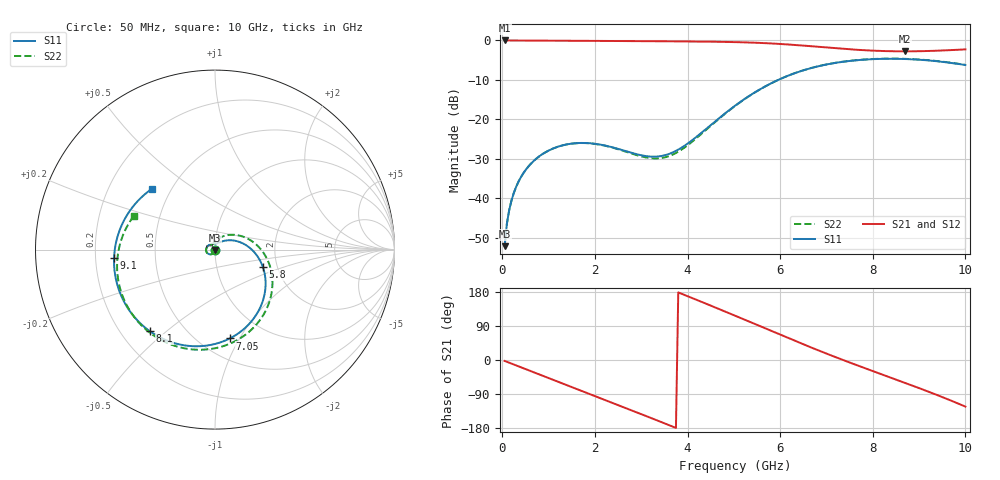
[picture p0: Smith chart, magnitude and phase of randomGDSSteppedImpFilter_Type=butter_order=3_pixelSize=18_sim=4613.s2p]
! freq	dB(S11)	phase(S11)	dB(S12)	phase(S12)
!  dB(S21)	phase(S21)	dB(S22)	phase(S22)
!S-par simulation data
#  GHz  S  DB  R 50
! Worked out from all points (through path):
!   200 points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, 50 MHz to 10 GHz, reference 50 ohm
!   highest |S21| = 0.00 dB at 50 MHz (marker M1); lowest = -2.8 dB at 8.7 GHz (marker M2)
!   group delay of S21, straight-line fit = 135 ps
!   lowest |S11| = -52.2 dB at 50 MHz (marker M3), VSWR 1.00, Z = 50 - j0.246 ohm
!   |S11| at or under -10 dB: start of sweep to 5.96 GHz
!   |S22| runs from -52.2 to -4.6 dB; largest |S21 - S12| = 0
!   S11 on the Smith chart (normalised r, x): 50 MHz: 1.00, -0.00; 5.8 GHz: 1.68, -0.36; 7.05 GHz: 0.69, -0.91; 8.1 GHz: 0.32, -0.44; 9.1 GHz: 0.28, -0.04; 10 GHz: 0.39, +0.35
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0.05  -52.18 -88.4  -0.00 -2.4  -0.00 -2.4  -52.18 -88.4
0.1  -46.42 -92.5  -0.01 -4.8  -0.01 -4.8  -46.42 -92.4
0.2  -40.53 -98.7  -0.01 -9.5  -0.01 -9.5  -40.53 -98.4
0.5  -32.92 -114.6  -0.03 -23.8  -0.03 -23.8  -32.92 -113.9
1.05  -27.65 -142.4  -0.06 -49.8  -0.06 -49.8  -27.65 -140.7
1.75  -26.00 -177.7  -0.10 -82.9  -0.10 -82.9  -26.02 -173.6
2.5  -27.50 141.5  -0.14 -118.7  -0.14 -118.7  -27.60 152.3
3.4  -29.38 85.7  -0.20 -162.1  -0.20 -162.1  -29.88 115.0
3.8  -27.69 65.2  -0.24 178.3  -0.24 178.3  -28.22 97.2
4.2  -24.38 49.1  -0.28 158.6  -0.28 158.6  -24.72 77.0
5.05  -16.35 14.5  -0.43 115.7  -0.43 115.7  -16.42 31.9
5.45  -13.19 -3.7  -0.57 95.1  -0.57 95.1  -13.22 10.8
5.8  -10.90 -20.3  -0.76 77.1  -0.76 77.1  -10.91 -7.6
6.25  -8.59 -42.2  -1.09 54.0  -1.09 54.0  -8.58 -30.8
6.7  -6.91 -63.9  -1.50 31.5  -1.50 31.5  -6.89 -53.3
7.05  -5.99 -80.5  -1.84 14.5  -1.84 14.5  -5.97 -70.1
7.55  -5.14 -103.6  -2.29 -8.8  -2.29 -8.8  -5.11 -93.1
8.1  -4.70 -128.6  -2.64 -33.7  -2.64 -33.7  -4.66 -117.4
8.35  -4.65 -140.0  -2.73 -44.8  -2.73 -44.8  -4.61 -128.2
8.7  -4.71 -156.2  -2.77 -60.5  -2.77 -60.5  -4.66 -143.3
9.1  -4.97 -175.4  -2.71 -78.8  -2.71 -78.8  -4.92 -160.8
10  -6.23 136.0  -2.27 -123.0  -2.27 -123.0  -6.20 157.5
